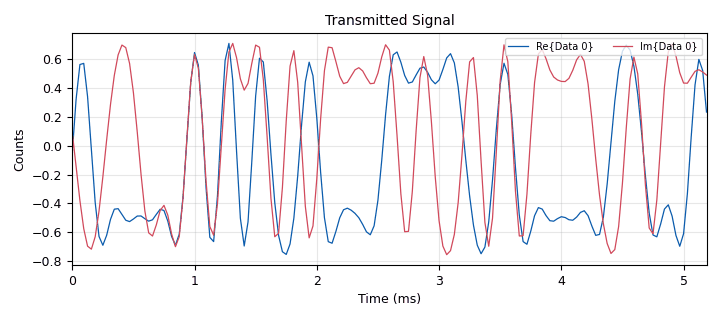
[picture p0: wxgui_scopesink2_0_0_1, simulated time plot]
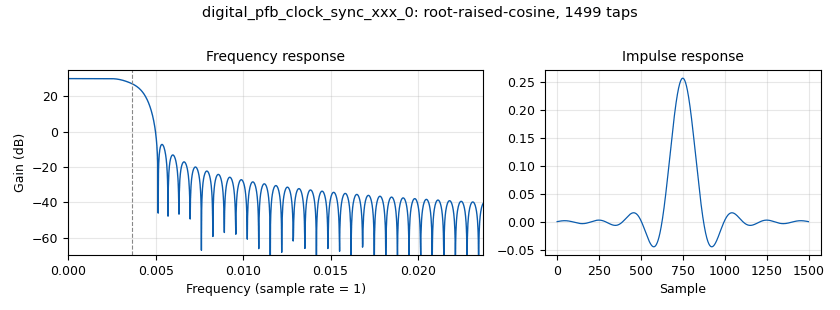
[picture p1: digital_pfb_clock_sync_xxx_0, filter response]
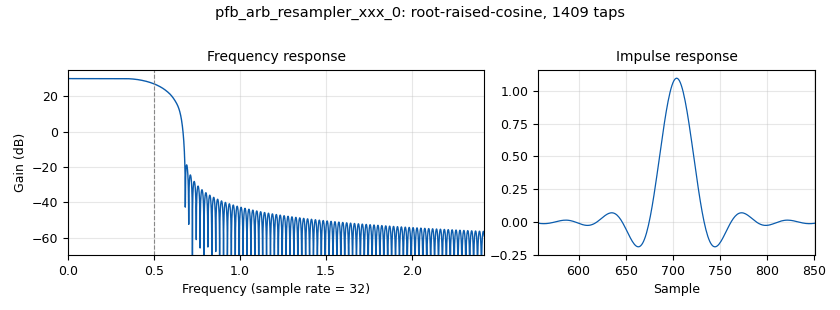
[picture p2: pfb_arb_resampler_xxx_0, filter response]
<?xml version='1.0' encoding='utf-8'?>
<flow_graph>
<block>
<key>options</key>
<param><key>id</key><value>pam_timing</value></param>
<param><key>generate_options</key><value>wx_gui</value></param>
<param><key>category</key><value>Custom</value></param>
</block>
<block>
<key>gr_uchar_to_float</key>
<param><key>id</key><value>gr_uchar_to_float_0</value></param>
</block>
<block>
<key>gr_uchar_to_float</key>
<param><key>id</key><value>gr_uchar_to_float_0_0</value></param>
</block>
<block>
<key>variable_slider</key>
<param><key>id</key><value>freq_offset</value></param>
<param><key>label</key><value>Frequency Offset</value></param>
<param><key>value</key><value>0</value></param>
<param><key>min</key><value>-0.5</value></param>
<param><key>max</key><value>0.5</value></param>
<param><key>num_steps</key><value>1000</value></param>
<param><key>style</key><value>wx.SL_HORIZONTAL</value></param>
<param><key>converver</key><value>float_converter</value></param>
</block>
<block>
<key>random_source_x</key>
<param><key>id</key><value>random_source_x_0</value></param>
<param><key>type</key><value>byte</value></param>
<param><key>min</key><value>0</value></param>
<param><key>max</key><value>pam_amp</value></param>
<param><key>num_samps</key><value>10000</value></param>
<param><key>repeat</key><value>True</value></param>
</block>
<block>
<key>random_source_x</key>
<param><key>id</key><value>random_source_x_0_0</value></param>
<param><key>type</key><value>byte</value></param>
<param><key>min</key><value>0</value></param>
<param><key>max</key><value>pam_amp</value></param>
<param><key>num_samps</key><value>10000</value></param>
<param><key>repeat</key><value>True</value></param>
</block>
<block>
<key>const_source_x</key>
<param><key>id</key><value>const_source_x_0</value></param>
<param><key>type</key><value>float</value></param>
<param><key>const</key><value>-0.5*(pam_amp-1)</value></param>
</block>
<block>
<key>const_source_x</key>
<param><key>id</key><value>const_source_x_0_0</value></param>
<param><key>type</key><value>float</value></param>
<param><key>const</key><value>-0.5*(pam_amp-1)</value></param>
</block>
<block>
<key>notebook</key>
<param><key>id</key><value>notebook_0</value></param>
<param><key>style</key><value>wx.NB_TOP</value></param>
<param><key>labels</key><value>['error', 'phase', 'freq', 'Resampled Signal']</value></param>
</block>
<block>
<key>gr_add_xx</key>
<param><key>id</key><value>gr_add_xx_0</value></param>
<param><key>type</key><value>float</value></param>
<param><key>num_inputs</key><value>2</value></param>
<param><key>vlen</key><value>1</value></param>
</block>
<block>
<key>gr_add_xx</key>
<param><key>id</key><value>gr_add_xx_0_1</value></param>
<param><key>type</key><value>float</value></param>
<param><key>num_inputs</key><value>2</value></param>
<param><key>vlen</key><value>1</value></param>
</block>
<block>
<key>variable</key>
<param><key>id</key><value>nfilts</value></param>
<param><key>value</key><value>32</value></param>
</block>
<block>
<key>variable_slider</key>
<param><key>id</key><value>noise_amp</value></param>
<param><key>label</key><value>Channel Noise</value></param>
<param><key>value</key><value>0</value></param>
<param><key>min</key><value>0</value></param>
<param><key>max</key><value>1.0</value></param>
<param><key>num_steps</key><value>1000</value></param>
<param><key>style</key><value>wx.SL_HORIZONTAL</value></param>
<param><key>converver</key><value>float_converter</value></param>
</block>
<block>
<key>variable_slider</key>
<param><key>id</key><value>interpratio</value></param>
<param><key>label</key><value>Timing Offset</value></param>
<param><key>value</key><value>1.00</value></param>
<param><key>min</key><value>0.99</value></param>
<param><key>max</key><value>1.01</value></param>
<param><key>num_steps</key><value>1000</value></param>
<param><key>style</key><value>wx.SL_HORIZONTAL</value></param>
<param><key>converver</key><value>float_converter</value></param>
</block>
<block>
<key>variable_slider</key>
<param><key>id</key><value>alpha</value></param>
<param><key>label</key><value>Timing Alpha</value></param>
<param><key>value</key><value>0</value></param>
<param><key>min</key><value>0</value></param>
<param><key>max</key><value>1</value></param>
<param><key>num_steps</key><value>1000</value></param>
<param><key>style</key><value>wx.SL_HORIZONTAL</value></param>
<param><key>converver</key><value>float_converter</value></param>
</block>
<block>
<key>variable</key>
<param><key>id</key><value>rrctaps</value></param>
<param><key>value</key><value>firdes.root_raised_cosine(nfilts,1.0,1.0/(spb*nfilts), .35, int(11*spb*nfilts))</value></param>
</block>
<block>
<key>variable</key>
<param><key>id</key><value>spb</value></param>
<param><key>value</key><value>4.2563</value></param>
</block>
<block>
<key>wxgui_scopesink2</key>
<param><key>id</key><value>wxgui_scopesink2_0</value></param>
<param><key>type</key><value>complex</value></param>
<param><key>title</key><value>Scope Plot</value></param>
<param><key>samp_rate</key><value>samp_rate</value></param>
<param><key>v_scale</key><value>0</value></param>
<param><key>v_offset</key><value>0</value></param>
<param><key>t_scale</key><value>0</value></param>
<param><key>ac_couple</key><value>False</value></param>
<param><key>xy_mode</key><value>False</value></param>
<param><key>num_inputs</key><value>1</value></param>
<param><key>trig_mode</key><value>gr.gr_TRIG_MODE_AUTO</value></param>
<param><key>y_axis_label</key><value>Counts</value></param>
</block>
<block>
<key>digital_pfb_clock_sync_xxx</key>
<param><key>id</key><value>digital_pfb_clock_sync_xxx_0</value></param>
<param><key>type</key><value>ccf</value></param>
<param><key>sps</key><value>spb</value></param>
<param><key>alpha</key><value>alpha</value></param>
<param><key>beta</key><value>beta</value></param>
<param><key>taps</key><value>rrctaps</value></param>
<param><key>filter_size</key><value>nfilts</value></param>
<param><key>init_phase</key><value>nfilts/2</value></param>
<param><key>max_dev</key><value>1.5</value></param>
<param><key>osps</key><value>1</value></param>
</block>
<block>
<key>gr_throttle</key>
<param><key>id</key><value>gr_throttle_0</value></param>
<param><key>type</key><value>complex</value></param>
<param><key>samples_per_second</key><value>samp_rate</value></param>
<param><key>vlen</key><value>1</value></param>
</block>
<block>
<key>channel_model</key>
<param><key>id</key><value>channel_model_0</value></param>
<param><key>noise_voltage</key><value>noise_amp</value></param>
<param><key>freq_offset</key><value>freq_offset</value></param>
<param><key>epsilon</key><value>interpratio</value></param>
<param><key>taps</key><value>1.0</value></param>
<param><key>seed</key><value>0</value></param>
</block>
<block>
<key>gr_float_to_complex</key>
<param><key>id</key><value>gr_float_to_complex_0</value></param>
<param><key>vlen</key><value>1</value></param>
</block>
<block>
<key>pfb_arb_resampler_xxx</key>
<param><key>id</key><value>pfb_arb_resampler_xxx_0</value></param>
<param><key>type</key><value>ccf</value></param>
<param><key>rrate</key><value>spb</value></param>
<param><key>taps</key><value>firdes.root_raised_cosine(32, 32, 1.0, 0.35, 44*32)</value></param>
<param><key>nfilts</key><value>32</value></param>
</block>
<block>
<key>gr_multiply_const_vxx</key>
<param><key>id</key><value>gr_multiply_const_vxx_0</value></param>
<param><key>type</key><value>complex</value></param>
<param><key>const</key><value>sig_amp</value></param>
<param><key>vlen</key><value>1</value></param>
</block>
<block>
<key>wxgui_scopesink2</key>
<param><key>id</key><value>wxgui_scopesink2_0_0_1</value></param>
<param><key>type</key><value>complex</value></param>
<param><key>title</key><value>Transmitted Signal</value></param>
<param><key>samp_rate</key><value>samp_rate</value></param>
<param><key>v_scale</key><value>.5</value></param>
<param><key>v_offset</key><value>0</value></param>
<param><key>t_scale</key><value>0</value></param>
<param><key>ac_couple</key><value>False</value></param>
<param><key>xy_mode</key><value>False</value></param>
<param><key>num_inputs</key><value>1</value></param>
<param><key>notebook</key><value>notebook_0,3</value></param>
<param><key>trig_mode</key><value>gr.gr_TRIG_MODE_AUTO</value></param>
<param><key>y_axis_label</key><value>Counts</value></param>
</block>
<block>
<key>wxgui_scopesink2</key>
<param><key>id</key><value>wxgui_scopesink2_0_0_0_0</value></param>
<param><key>type</key><value>float</value></param>
<param><key>title</key><value>PFB Rate</value></param>
<param><key>samp_rate</key><value>samp_rate</value></param>
<param><key>v_scale</key><value>1.25</value></param>
<param><key>v_offset</key><value>0</value></param>
<param><key>t_scale</key><value>0</value></param>
<param><key>ac_couple</key><value>False</value></param>
<param><key>xy_mode</key><value>False</value></param>
<param><key>num_inputs</key><value>1</value></param>
<param><key>notebook</key><value>notebook_0,2</value></param>
<param><key>trig_mode</key><value>gr.gr_TRIG_MODE_AUTO</value></param>
<param><key>y_axis_label</key><value>Counts</value></param>
</block>
<block>
<key>wxgui_scopesink2</key>
<param><key>id</key><value>wxgui_scopesink2_0_0</value></param>
<param><key>type</key><value>float</value></param>
<param><key>title</key><value>PFB Error</value></param>
<param><key>samp_rate</key><value>samp_rate</value></param>
<param><key>v_scale</key><value>3</value></param>
<param><key>v_offset</key><value>0</value></param>
<param><key>t_scale</key><value>0</value></param>
<param><key>ac_couple</key><value>False</value></param>
<param><key>xy_mode</key><value>False</value></param>
<param><key>num_inputs</key><value>1</value></param>
<param><key>notebook</key><value>notebook_0,0</value></param>
<param><key>trig_mode</key><value>gr.gr_TRIG_MODE_AUTO</value></param>
<param><key>y_axis_label</key><value>Counts</value></param>
</block>
<block>
<key>wxgui_scopesink2</key>
<param><key>id</key><value>wxgui_scopesink2_0_0_0</value></param>
<param><key>type</key><value>float</value></param>
<param><key>title</key><value>PFB Phase</value></param>
<param><key>samp_rate</key><value>samp_rate</value></param>
<param><key>v_scale</key><value>9</value></param>
<param><key>v_offset</key><value>0</value></param>
<param><key>t_scale</key><value>0</value></param>
<param><key>ac_couple</key><value>False</value></param>
<param><key>xy_mode</key><value>False</value></param>
<param><key>num_inputs</key><value>1</value></param>
<param><key>notebook</key><value>notebook_0,1</value></param>
<param><key>trig_mode</key><value>gr.gr_TRIG_MODE_AUTO</value></param>
<param><key>y_axis_label</key><value>Counts</value></param>
</block>
<block>
<key>variable_slider</key>
<param><key>id</key><value>beta</value></param>
<param><key>label</key><value>Timing Beta</value></param>
<param><key>value</key><value>0</value></param>
<param><key>min</key><value>0.0</value></param>
<param><key>max</key><value>0.1</value></param>
<param><key>num_steps</key><value>1000</value></param>
<param><key>style</key><value>wx.SL_HORIZONTAL</value></param>
<param><key>converver</key><value>float_converter</value></param>
</block>
<block>
<key>options</key>
<param><key>id</key><value>pam_timing</value></param>
<param><key>generate_options</key><value>wx_gui</value></param>
<param><key>category</key><value>Custom</value></param>
</block>
<block>
<key>variable</key>
<param><key>id</key><value>pam_amp</value></param>
<param><key>value</key><value>2</value></param>
</block>
<block>
<key>variable</key>
<param><key>id</key><value>samp_rate</value></param>
<param><key>value</key><value>32000</value></param>
</block>
<block>
<key>variable</key>
<param><key>id</key><value>sig_amp</value></param>
<param><key>value</key><value>1</value></param>
</block>
<connection><source_block_id>random_source_x_0</source_block_id><sink_block_id>gr_uchar_to_float_0</sink_block_id><source_key>0</source_key><sink_key>0</sink_key></connection>
<connection><source_block_id>gr_uchar_to_float_0</source_block_id><sink_block_id>gr_add_xx_0</sink_block_id><source_key>0</source_key><sink_key>0</sink_key></connection>
<connection><source_block_id>const_source_x_0</source_block_id><sink_block_id>gr_add_xx_0</sink_block_id><source_key>0</source_key><sink_key>1</sink_key></connection>
<connection><source_block_id>gr_uchar_to_float_0_0</source_block_id><sink_block_id>gr_add_xx_0_1</sink_block_id><source_key>0</source_key><sink_key>0</sink_key></connection>
<connection><source_block_id>const_source_x_0_0</source_block_id><sink_block_id>gr_add_xx_0_1</sink_block_id><source_key>0</source_key><sink_key>1</sink_key></connection>
<connection><source_block_id>random_source_x_0_0</source_block_id><sink_block_id>gr_uchar_to_float_0_0</sink_block_id><source_key>0</source_key><sink_key>0</sink_key></connection>
<connection><source_block_id>gr_add_xx_0</source_block_id><sink_block_id>gr_float_to_complex_0</sink_block_id><source_key>0</source_key><sink_key>0</sink_key></connection>
<connection><source_block_id>gr_add_xx_0_1</source_block_id><sink_block_id>gr_float_to_complex_0</sink_block_id><source_key>0</source_key><sink_key>1</sink_key></connection>
<connection><source_block_id>gr_multiply_const_vxx_0</source_block_id><sink_block_id>wxgui_scopesink2_0_0_1</sink_block_id><source_key>0</source_key><sink_key>0</sink_key></connection>
<connection><source_block_id>gr_throttle_0</source_block_id><sink_block_id>digital_pfb_clock_sync_xxx_0</sink_block_id><source_key>0</source_key><sink_key>0</sink_key></connection>
<connection><source_block_id>digital_pfb_clock_sync_xxx_0</source_block_id><sink_block_id>wxgui_scopesink2_0</sink_block_id><source_key>0</source_key><sink_key>0</sink_key></connection>
<connection><source_block_id>digital_pfb_clock_sync_xxx_0</source_block_id><sink_block_id>wxgui_scopesink2_0_0</sink_block_id><source_key>1</source_key><sink_key>0</sink_key></connection>
<connection><source_block_id>digital_pfb_clock_sync_xxx_0</source_block_id><sink_block_id>wxgui_scopesink2_0_0_0_0</sink_block_id><source_key>2</source_key><sink_key>0</sink_key></connection>
<connection><source_block_id>digital_pfb_clock_sync_xxx_0</source_block_id><sink_block_id>wxgui_scopesink2_0_0_0</sink_block_id><source_key>3</source_key><sink_key>0</sink_key></connection>
<connection><source_block_id>channel_model_0</source_block_id><sink_block_id>gr_throttle_0</sink_block_id><source_key>0</source_key><sink_key>0</sink_key></connection>
<connection><source_block_id>gr_multiply_const_vxx_0</source_block_id><sink_block_id>channel_model_0</sink_block_id><source_key>0</source_key><sink_key>0</sink_key></connection>
<connection><source_block_id>gr_float_to_complex_0</source_block_id><sink_block_id>pfb_arb_resampler_xxx_0</sink_block_id><source_key>0</source_key><sink_key>0</sink_key></connection>
<connection><source_block_id>pfb_arb_resampler_xxx_0</source_block_id><sink_block_id>gr_multiply_const_vxx_0</sink_block_id><source_key>0</source_key><sink_key>0</sink_key></connection>
</flow_graph>
